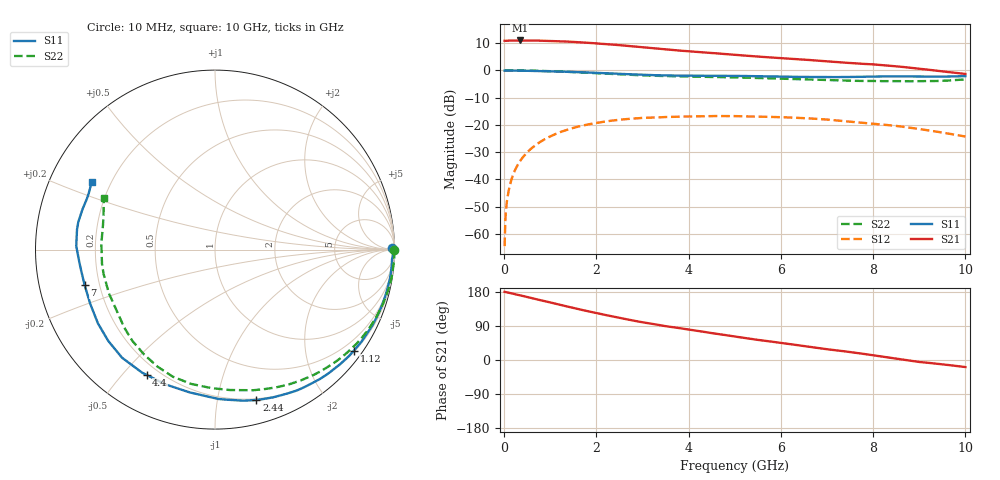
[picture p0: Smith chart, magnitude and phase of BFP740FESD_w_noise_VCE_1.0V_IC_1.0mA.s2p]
! Infineon Technologies  Discrete & RF Semiconductors
! BFP740FESD
! VCE =  1.0 V,  IC =  1.0 mA
! Common Emitter S-Parameters:  Jan 2016
# GHz  S  MA  R  50
!  f  S11  S21  S12  S22
! GHz  MAG  ANG  MAG  ANG  MAG  ANG  MAG  ANG
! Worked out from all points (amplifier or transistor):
!   233 points, 10 MHz to 10 GHz, reference 50 ohm
!   highest |S21| = 11.0 dB at 340 MHz (marker M1)
!   |S21| within 3 dB of that: start of sweep to 3.311 GHz
!   unconditionally stable (mu >= 1): 8.876 GHz to end of sweep
!   at 200 MHz: K = 0.00, MSG = 24.5 dB, |S12| = -38.0 dB
!   at 1.74 GHz: K = 0.10, MSG = 15.1 dB, |S12| = -20.1 dB
!   at 10 GHz: K = 1.55, MAG = 7.1 dB, |S12| = -24.3 dB
!   lowest NFmin = 0.46 dB at 450 MHz
!   S11 on the Smith chart (normalised r, x): 10 MHz: open; 1.12 GHz: 0.23, -3.06; 2.44 GHz: 0.19, -1.30; 4.4 GHz: 0.15, -0.58; 7 GHz: 0.14, -0.13; 10 GHz: 0.13, +0.25
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0.01  0.9887 0.6  3.496 179.7  0.0006 131.8  0.9972 -0.1
0.02  0.9918 -0.5  3.475 179.8  0.0014 91.2  0.9998 -0.6
0.03  0.9919 -0.8  3.476 179.4  0.0021 89.3  0.9998 -0.8
0.07  0.9903 -2.1  3.49 178.2  0.0046 87.9  0.9996 -1.8
0.18  0.9887 -5.8  3.524 175.3  0.0114 85.7  0.9986 -4.6
0.34  0.9858 -11.0  3.533 170.8  0.0215 81.9  0.9959 -8.7
0.7  0.9762 -22.6  3.52 160.4  0.0439 72.6  0.9837 -18.0
1.12  0.9571 -36.0  3.439 148.4  0.0685 61.8  0.9593 -29.0
1.4  0.9401 -45.0  3.362 140.2  0.0835 54.4  0.9384 -36.4
1.68  0.9215 -53.4  3.263 132.4  0.0964 47.4  0.9152 -43.6
1.9  0.9078 -59.8  3.171 126.5  0.1056 42.1  0.8971 -49.2
2.44  0.8687 -74.6  2.927 112.7  0.123 29.8  0.8524 -62.3
2.96  0.8338 -87.8  2.672 100.4  0.1338 18.9  0.8141 -73.9
3.4  0.8104 -97.7  2.463 91.5  0.1383 10.9  0.7903 -82.0
4.4  0.7953 -118.6  2.113 73.0  0.1451 -4.5  0.7609 -98.4
5.1  0.7906 -132.4  1.9 60.2  0.1444 -15.4  0.7409 -109.9
6  0.771 -147.7  1.68 45.1  0.139 -28.3  0.7055 -124.0
6.8  0.753 -161.5  1.506 31.9  0.1286 -39.6  0.6731 -136.4
7  0.7528 -164.9  1.466 28.4  0.1254 -42.6  0.6666 -139.3
8.4  0.7769 171.7  1.208 5.5  0.0979 -58.2  0.6354 -167.9
9  0.7717 163.0  1.076 -5.2  0.0842 -65.0  0.6341 177.1
10  0.784 151.1  0.861 -18.6  0.0612 -71.0  0.6825 155.1
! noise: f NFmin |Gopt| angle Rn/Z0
0.45  0.46  0.83  8  0.43
2.4  0.9  0.62  51  0.38
5.5  1.25  0.67  126  0.17
10  2.91  0.64  -148  0.23
